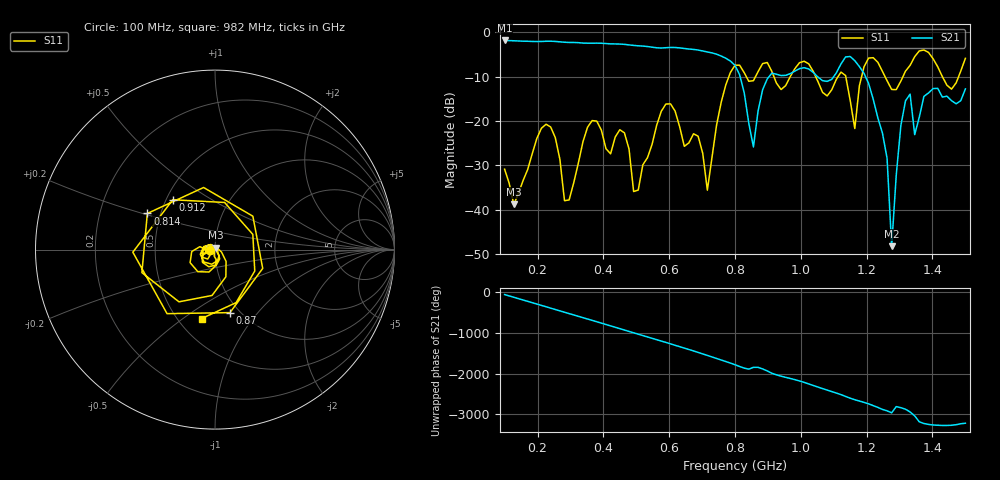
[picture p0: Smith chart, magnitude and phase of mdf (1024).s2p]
! NanoVNA-App
! Date: 2025-09-25 15:46:23
! Start: 100MHz Stop: 1,5GHz Points: 101
! S-Parameter data: F S11 S21 S12 S22
# Hz S RI R 50
!  Frequency  S11_Real  S11_Imag  S21_Real  S21_Imag  S12_Real  S12_Imag  S22_Real  S22_Imag
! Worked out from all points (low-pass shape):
!   101 points, 100 MHz to 1.5 GHz, reference 50 ohm
!   highest |S21| = -1.80 dB at 100 MHz (marker M1); lowest = -48.2 dB at 1.276 GHz (marker M2)
!   |S21| within 3 dB of the highest: start of sweep to 739.4 MHz
!   lowest |S11| = -38.8 dB at 128 MHz (marker M3), VSWR 1.02, Z = 50.4 + j1.09 ohm
!   |S11| at or under -10 dB: start of sweep to 781.2 MHz; 1.045 GHz to 1.113 GHz (67.58 MHz wide, 6.26 % of centre); 1.256 GHz to 1.31 GHz (53.91 MHz wide, 4.2 % of centre) (the widest 3 of 7)
!   S12 and S22 are empty: the file has one direction only
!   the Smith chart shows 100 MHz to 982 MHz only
!   S11 on the Smith chart (normalised r, x): 100 MHz: 0.94, -0.01; 814 MHz: 0.42, +0.21; 870 MHz: 0.90, -0.73; 912 MHz: 0.54, +0.35; 982 MHz: 0.65, -0.59
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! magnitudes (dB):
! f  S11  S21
! 100 MHz  -30.8  -1.8
! 128 MHz  -38.8  -1.9
! 212 MHz  -21.6  -2.0
! 282 MHz  -37.9  -2.2
! 338 MHz  -24.7  -2.4
! 464 MHz  -22.6  -2.7
! 506 MHz  -35.5  -3.0
! 576 MHz  -17.8  -3.5
! 716 MHz  -35.6  -4.4
! 800 MHz  -7.4  -7.4
! 814 MHz  -7.4  -9.5
! 856 MHz  -10.9  -25.8
! 870 MHz  -8.9  -17.7
! 912 MHz  -8.8  -9.2
! 982 MHz  -8.1  -8.7
! 1.038 GHz  -8.8  -9.0
! 1.164 GHz  -21.7  -6.4
! 1.206 GHz  -5.8  -11.5
! 1.262 GHz  -10.9  -28.3
! 1.276 GHz  -12.9  -48.2
! 1.318 GHz  -8.7  -15.4
! 1.5 GHz  -5.8  -12.7
